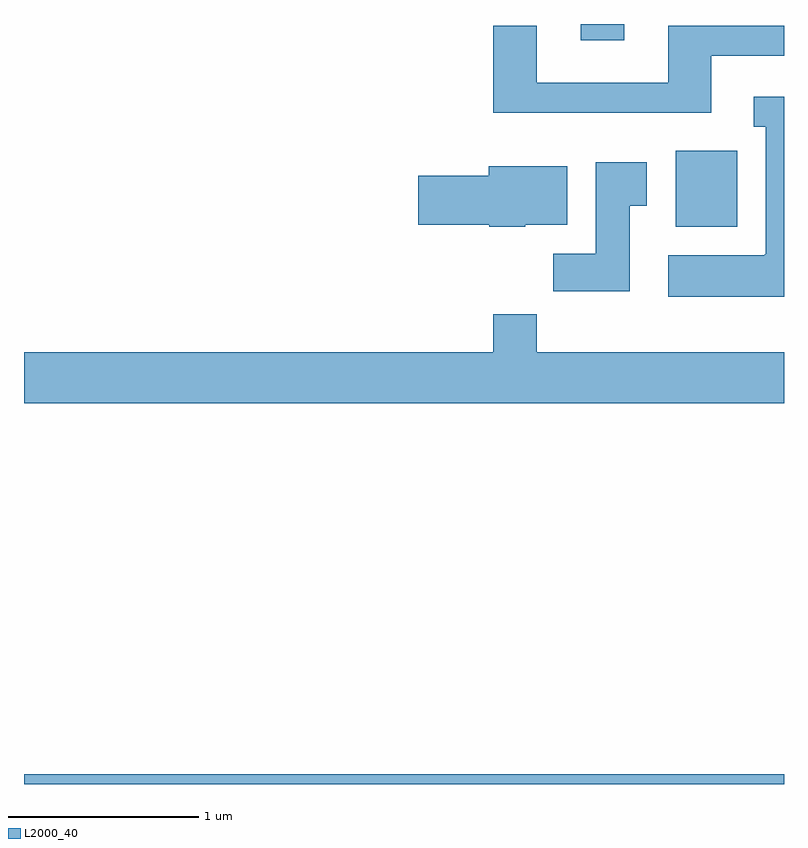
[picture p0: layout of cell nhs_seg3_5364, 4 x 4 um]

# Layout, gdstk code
import gdstk
lib = gdstk.Library(unit=1e-6, precision=1e-09)
def R(c, l, rs):  # rectangles x0, y0, x1, y1
    for r in rs: c.add(gdstk.rectangle(r[:2], r[2:], *l))
def P(c, l, *ps):  # polygons
    for p in ps: c.add(gdstk.Polygon(p, *l))
L2000_40 = (2000, 40)

nhs_seg3_5364 = lib.new_cell('nhs_seg3_5364')
R(nhs_seg3_5364, L2000_40, [(341.611,1243.892,345.611,1243.944), (345.041,1246.826,345.364,1247.224), (344.541,1247.806,344.769,1247.892)])
P(nhs_seg3_5364, L2000_40, [(345.229,1247.726),(345.611,1247.726),(345.611,1247.884),(345.001,1247.884),(345.001,1247.584),(344.309,1247.584),(344.309,1247.884),(344.081,1247.884),(344.081,1247.426),(345.229,1247.426)],
  [(345.611,1247.509),(345.453,1247.509),(345.453,1247.351),(345.516,1247.351),(345.516,1246.68),(345.51,1246.68),(345.51,1246.674),(345.001,1246.674),(345.001,1246.456),(345.611,1246.456)],
  [(344.799,1246.936),(344.889,1246.936),(344.889,1247.164),(344.621,1247.164),(344.621,1246.684),(344.396,1246.684),(344.396,1246.486),(344.799,1246.486)],
  [(344.25,1246.836),(344.469,1246.836),(344.469,1247.144),(344.056,1247.144),(344.056,1247.094),(343.686,1247.094),(343.686,1246.836),(344.06,1246.836),(344.06,1246.826),(344.25,1246.826)],
  [(345.611,1246.164),(344.309,1246.164),(344.309,1246.364),(344.081,1246.364),(344.081,1246.164),(341.611,1246.164),(341.611,1245.896),(345.611,1245.896)])

lib.write_gds('nhs_seg3_5364.gds')
